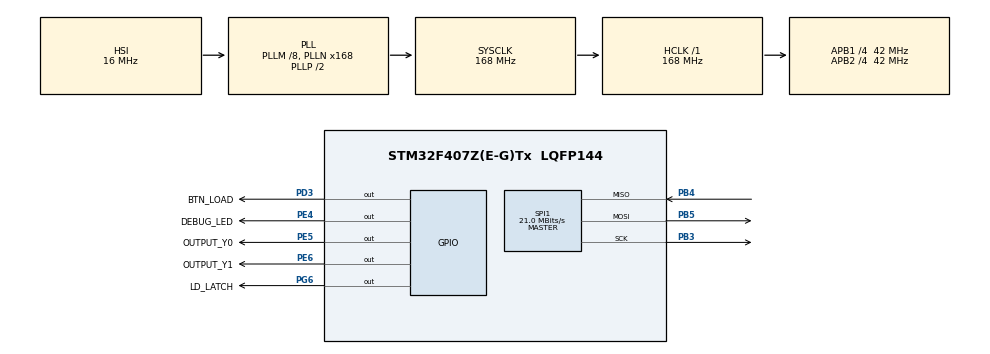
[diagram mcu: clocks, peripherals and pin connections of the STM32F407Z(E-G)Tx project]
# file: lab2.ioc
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Mcu.Family=STM32F4
Mcu.Name=STM32F407Z(E-G)Tx
Mcu.Package=LQFP144
NVIC.PriorityGroup=NVIC_PRIORITYGROUP_4
NVIC.TIM2_IRQn=true\:0\:0\:false\:false\:true\:true\:true
PA13.Mode=Serial_Wire
PA13.Signal=SYS_JTMS-SWDIO
PA14.Mode=Serial_Wire
PA14.Signal=SYS_JTCK-SWCLK
PB3.Mode=Full_Duplex_Master
PB3.Signal=SPI1_SCK
PB4.Mode=Full_Duplex_Master
PB4.Signal=SPI1_MISO
PB5.Mode=Full_Duplex_Master
PB5.Signal=SPI1_MOSI
PD3.GPIO_Label=BTN_LOAD
PD3.Signal=GPIO_Output
PE4.GPIO_Label=DEBUG_LED
PE4.Signal=GPIO_Output
PE5.GPIO_Label=OUTPUT_Y0
PE5.Signal=GPIO_Output
PE6.GPIO_Label=OUTPUT_Y1
PE6.Signal=GPIO_Output
PG6.GPIO_Label=LD_LATCH
PG6.Signal=GPIO_Output
PH0-OSC_IN.Mode=HSE-External-Oscillator
PH0-OSC_IN.Signal=RCC_OSC_IN
PH1-OSC_OUT.Mode=HSE-External-Oscillator
PH1-OSC_OUT.Signal=RCC_OSC_OUT
ProjectManager.HeapSize=0x200
ProjectManager.StackSize=0x400
ProjectManager.TargetToolchain=STM32CubeIDE
RCC.48MHZClocksFreq_Value=84000000
RCC.AHBFreq_Value=168000000
RCC.APB1CLKDivider=RCC_HCLK_DIV4
RCC.APB1Freq_Value=42000000
RCC.APB1TimFreq_Value=84000000
RCC.APB2CLKDivider=RCC_HCLK_DIV4
RCC.APB2Freq_Value=42000000
RCC.APB2TimFreq_Value=84000000
RCC.CortexFreq_Value=168000000
RCC.HCLKFreq_Value=168000000
RCC.HSE_VALUE=8000000
RCC.HSI_VALUE=16000000
RCC.LSE_VALUE=32768
RCC.PLLM=8
RCC.PLLN=168
RCC.SYSCLKFreq_VALUE=168000000
RCC.SYSCLKSource=RCC_SYSCLKSOURCE_PLLCLK
RCC.VCOOutputFreq_Value=336000000
SPI1.CalculateBaudRate=21.0 MBits/s
SPI1.Direction=SPI_DIRECTION_2LINES
SPI1.Mode=SPI_MODE_MASTER
SPI1.VirtualType=VM_MASTER
TIM2.Period=100-1
TIM2.Prescaler=840-1
VP_TIM2_VS_ClockSourceINT.Mode=Internal
board=custom

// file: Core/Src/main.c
/* USER CODE BEGIN Header */
/**
  ******************************************************************************
  * @file           : main.c
  * @brief          : Main program body
  ******************************************************************************
  * @attention
  *
  * <h2><center>&copy; Copyright (c) 2025 STMicroelectronics.
  * All rights reserved.</center></h2>
  *
  * This software component is licensed by ST under BSD 3-Clause license,
  * the "License"; You may not use this file except in compliance with the
  * License. You may obtain a copy of the License at:
  *                        opensource.org/licenses/BSD-3-Clause
  *
  ******************************************************************************
  */
/* USER CODE END Header */
#include "main.h"
#include "spi.h"
#include "tim.h"
#include "gpio.h"

/* USER CODE BEGIN Includes */
#include "global.h"
/* USER CODE END Includes */

void SystemClock_Config(void);
/* USER CODE BEGIN PFP */
void system_init(void);
void debug_led(void);
void Y0_led(void);
void Y1_led(void);
void traffic_led(void);
void led_7seg(void);
void led7_scan(void);
void colon_scan(void);
void clock_cal(void);
void shift_right(void);
void led7_seg(void);
/* USER CODE END PFP */

/* USER CODE BEGIN 0 */

int count_debug_led = 0;
int count_y0_led = 0;
int count_y1_led = 0;
int count_traffic_led = 0;
int count_colon = 0;
int count_clock = 0;
int count_shift_right = 0;

/* USER CODE END 0 */

int main(void)
{

  /* MCU Configuration--------------------------------------------------------*/

  /* Reset of all peripherals, Initializes the Flash interface and the Systick. */
  HAL_Init();

  /* Configure the system clock */
  SystemClock_Config();

  /* Initialize all configured peripherals */
  MX_GPIO_Init();
  MX_TIM2_Init();
  MX_SPI1_Init();
  /* USER CODE BEGIN 2 */
  system_init();
  /* USER CODE END 2 */

  /* Infinite loop */
  while (1)
  {

    /* USER CODE BEGIN 3 */
	while(!flag_timer2);

	flag_timer2 = 0;
	debug_led();
//	Y0_led();
//	Y1_led();
//	traffic_led();
	colon_scan();
	led7_seg();
	clock_cal();
//	shift_right();
  }

  /* USER CODE END 3 */
}

void SystemClock_Config(void)
{
  RCC_OscInitTypeDef RCC_OscInitStruct = {0};
  RCC_ClkInitTypeDef RCC_ClkInitStruct = {0};

  /** Configure the main internal regulator output voltage
  */
  __HAL_RCC_PWR_CLK_ENABLE();
  __HAL_PWR_VOLTAGESCALING_CONFIG(PWR_REGULATOR_VOLTAGE_SCALE1);
  /** Initializes the RCC Oscillators according to the specified parameters
  * in the RCC_OscInitTypeDef structure.
  */
  RCC_OscInitStruct.OscillatorType = RCC_OSCILLATORTYPE_HSI;
  RCC_OscInitStruct.HSIState = RCC_HSI_ON;
  RCC_OscInitStruct.HSICalibrationValue = RCC_HSICALIBRATION_DEFAULT;
  RCC_OscInitStruct.PLL.PLLState = RCC_PLL_ON;
  RCC_OscInitStruct.PLL.PLLSource = RCC_PLLSOURCE_HSI;
  RCC_OscInitStruct.PLL.PLLM = 8;
  RCC_OscInitStruct.PLL.PLLN = 168;
  RCC_OscInitStruct.PLL.PLLP = RCC_PLLP_DIV2;
  RCC_OscInitStruct.PLL.PLLQ = 4;
  if (HAL_RCC_OscConfig(&RCC_OscInitStruct) != HAL_OK)
  {
    Error_Handler();
  }
  /** Initializes the CPU, AHB and APB buses clocks
  */
  RCC_ClkInitStruct.ClockType = RCC_CLOCKTYPE_HCLK|RCC_CLOCKTYPE_SYSCLK
                              |RCC_CLOCKTYPE_PCLK1|RCC_CLOCKTYPE_PCLK2;
  RCC_ClkInitStruct.SYSCLKSource = RCC_SYSCLKSOURCE_PLLCLK;
  RCC_ClkInitStruct.AHBCLKDivider = RCC_SYSCLK_DIV1;
  RCC_ClkInitStruct.APB1CLKDivider = RCC_HCLK_DIV4;
  RCC_ClkInitStruct.APB2CLKDivider = RCC_HCLK_DIV4;

  if (HAL_RCC_ClockConfig(&RCC_ClkInitStruct, FLASH_LATENCY_5) != HAL_OK)
  {
    Error_Handler();
  }
}

/* USER CODE BEGIN 4 */
void system_init(void){
	HAL_GPIO_WritePin(DEBUG_LED_GPIO_Port, DEBUG_LED_Pin, LED_OFF);
	HAL_GPIO_WritePin(OUTPUT_Y0_GPIO_Port, OUTPUT_Y0_Pin, LED_OFF);
	HAL_GPIO_WritePin(OUTPUT_Y1_GPIO_Port, OUTPUT_Y1_Pin, LED_OFF);
	HAL_TIM_Base_Start_IT(&htim2);
	setTimer2(50);

	// Initialize led7
	led7_init();
}

void debug_led(void){
	if(count_debug_led == 0){
		HAL_GPIO_TogglePin(DEBUG_LED_GPIO_Port, DEBUG_LED_Pin);
	}
	count_debug_led = (count_debug_led + 1) % 40;
}
void Y0_led(void){
	if(count_y0_led == 0){
			HAL_GPIO_WritePin(OUTPUT_Y0_GPIO_Port, OUTPUT_Y0_Pin, LED_ON);
	} else if(count_y0_led == 40){
		HAL_GPIO_WritePin(OUTPUT_Y0_GPIO_Port, OUTPUT_Y0_Pin, LED_OFF);
	}
	count_y0_led = (count_y0_led + 1) % 120;
}
void Y1_led(void){
	if(count_y1_led == 0){
			HAL_GPIO_WritePin(OUTPUT_Y1_GPIO_Port, OUTPUT_Y1_Pin, LED_ON);
	}else if(count_y1_led == 100){
		HAL_GPIO_WritePin(OUTPUT_Y1_GPIO_Port, OUTPUT_Y1_Pin, LED_OFF);
	}
	count_y1_led = (count_y1_led + 1) % 120;
}
void traffic_led(void){
	if(count_traffic_led == 0) {
		HAL_GPIO_WritePin(DEBUG_LED_GPIO_Port, DEBUG_LED_Pin, LED_ON);
		HAL_GPIO_WritePin(OUTPUT_Y1_GPIO_Port, OUTPUT_Y1_Pin, LED_OFF);
	}else if(count_traffic_led == 100){
		HAL_GPIO_TogglePin(DEBUG_LED_GPIO_Port, DEBUG_LED_Pin);
		HAL_GPIO_TogglePin(OUTPUT_Y0_GPIO_Port, OUTPUT_Y0_Pin);
	}else if(count_traffic_led == 160){
		HAL_GPIO_TogglePin(OUTPUT_Y0_GPIO_Port, OUTPUT_Y0_Pin);
		HAL_GPIO_TogglePin(OUTPUT_Y1_GPIO_Port, OUTPUT_Y1_Pin);
	}
	count_traffic_led = (count_traffic_led + 1) % 180;
}

void colon_scan(void){
	if(count_colon == 0){
		led7_SetColon(1);
	}else if(count_colon == 5){
		led7_SetColon(0);
	}
	count_colon = (count_colon + 1) % 10 ;
}

void clock_cal(void){
	count_clock = (count_clock + 1) % 1200 ;
	if(count_clock == 0){
		clock_time[3]++;
		if(clock_time[3] > 9){
			clock_time[3] = 0;
			clock_time[2]++;	// Increase time[2]

			if (clock_time[2] > 5) {
				clock_time[2] = 0;
				clock_time[1]++; // Increase time[1]

				if ((clock_time[0] == 2 && clock_time[1] > 3) || clock_time[1] > 9) {
					clock_time[1] = 0;
					clock_time[0]++; // Increase time[0]

					if (clock_time[0] > 2) {
						// Reset to 00:00
						clock_time[0] = 0;
						clock_time[1] = 0;
						clock_time[2] = 0;
						clock_time[3] = 0;
					}
				}
			}
		}
	}
}

void led7_seg(void){
	led7_SetDigit(clock_time[0], 0, 0);
	led7_SetDigit(clock_time[1], 1, 0);
	led7_SetDigit(clock_time[2], 2, 0);
	led7_SetDigit(clock_time[3], 3, 0);
}

void shift_right(void){
	count_shift_right = (count_shift_right + 1) % 20;
	if(count_shift_right == 0){
		int last = clock_time[3];
		for(int i = 3; i > 0; --i){
			clock_time[i] = clock_time[i - 1];
		}
		clock_time[0] = last;
	}
}

/* USER CODE END 4 */

void Error_Handler(void)
{
  __disable_irq();
  while (1)
  {
  }
}

/************************ (C) COPYRIGHT STMicroelectronics *****END OF FILE****/
